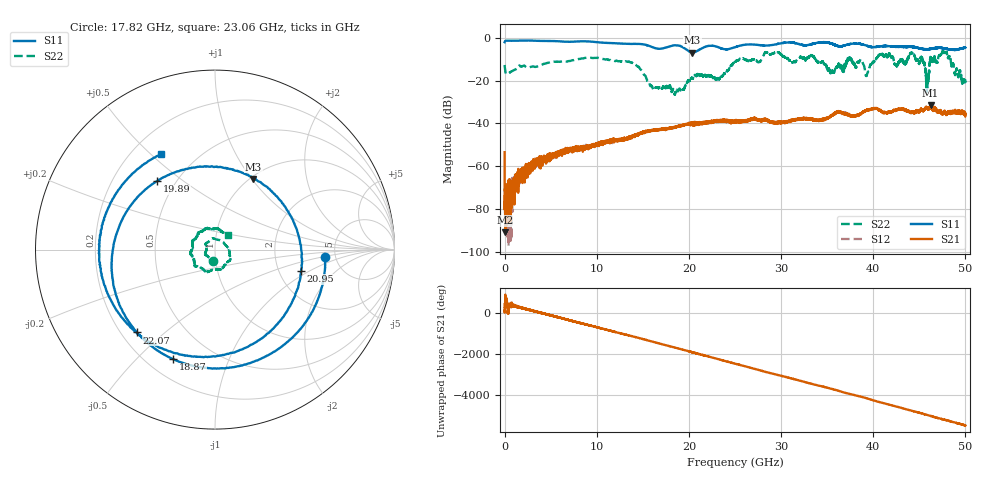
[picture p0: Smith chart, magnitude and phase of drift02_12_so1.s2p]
!Created with skrf (http://scikit-rf.org).
# Hz S RI R 50.0
!freq ReS11 ImS11 ReS21 ImS21 ReS12 ImS12 ReS22 ImS22
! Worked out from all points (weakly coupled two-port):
!   10001 points, 300 kHz to 50 GHz, reference 50 ohm
!   highest |S21| = -31.50 dB at 46.22 GHz (marker M1); lowest = -90.6 dB at 70.3 MHz (marker M2)
!   lowest |S11| = -7.0 dB at 20.38 GHz (marker M3), VSWR 2.62, Z = 51.6 + j50.9 ohm
!   |S11| at or under -10 dB: nowhere
!   |S22| runs from -26.6 to -6.3 dB; largest |S21 - S12| = 0.0034
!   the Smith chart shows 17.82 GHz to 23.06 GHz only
!   S11 on the Smith chart (normalised r, x): 17.82 GHz: 4.14, -0.55; 18.87 GHz: 0.30, -0.65; 19.89 GHz: 0.39, +0.40; 20.95 GHz: 2.66, -0.84; 22.07 GHz: 0.26, -0.41; 23.06 GHz: 0.32, +0.54
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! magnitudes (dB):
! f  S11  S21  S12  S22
! 300 kHz  -2.1  -53.4  -55.7  -12.7
! 70.3 MHz  -1.5  -90.6  -76.7  -15.6
! 255.3 MHz  -1.4  -78.0  -74.1  -17.0
! 3.215 GHz  -1.4  -60.0  -58.3  -13.5
! 8.335 GHz  -1.7  -51.5  -52.2  -9.7
! 13.7 GHz  -2.9  -47.0  -46.5  -11.6
! 16.67 GHz  -5.2  -42.9  -43.0  -23.5
! 17.82 GHz  -4.2  -42.3  -42.2  -23.4
! 18.87 GHz  -3.7  -41.4  -41.4  -24.5
! 19.89 GHz  -6.0  -40.5  -40.3  -20.1
! 20.38 GHz  -7.0  -40.3  -40.3  -18.9
! 20.95 GHz  -6.1  -39.9  -40.3  -16.9
! 22.07 GHz  -3.9  -39.2  -40.0  -17.7
! 23.06 GHz  -4.3  -38.6  -39.3  -19.1
! 25 GHz  -4.5  -39.3  -39.2  -11.4
! 33.34 GHz  -3.1  -37.9  -38.1  -8.4
! 39.31 GHz  -3.8  -33.8  -33.6  -17.3
! 41.67 GHz  -4.0  -34.5  -34.8  -7.8
! 45.84 GHz  -5.5  -33.1  -33.1  -21.3
! 46.22 GHz  -5.2  -31.5  -31.9  -9.5
! 47.75 GHz  -5.0  -34.5  -34.7  -7.0
! 50 GHz  -4.7  -35.6  -36.1  -19.8
